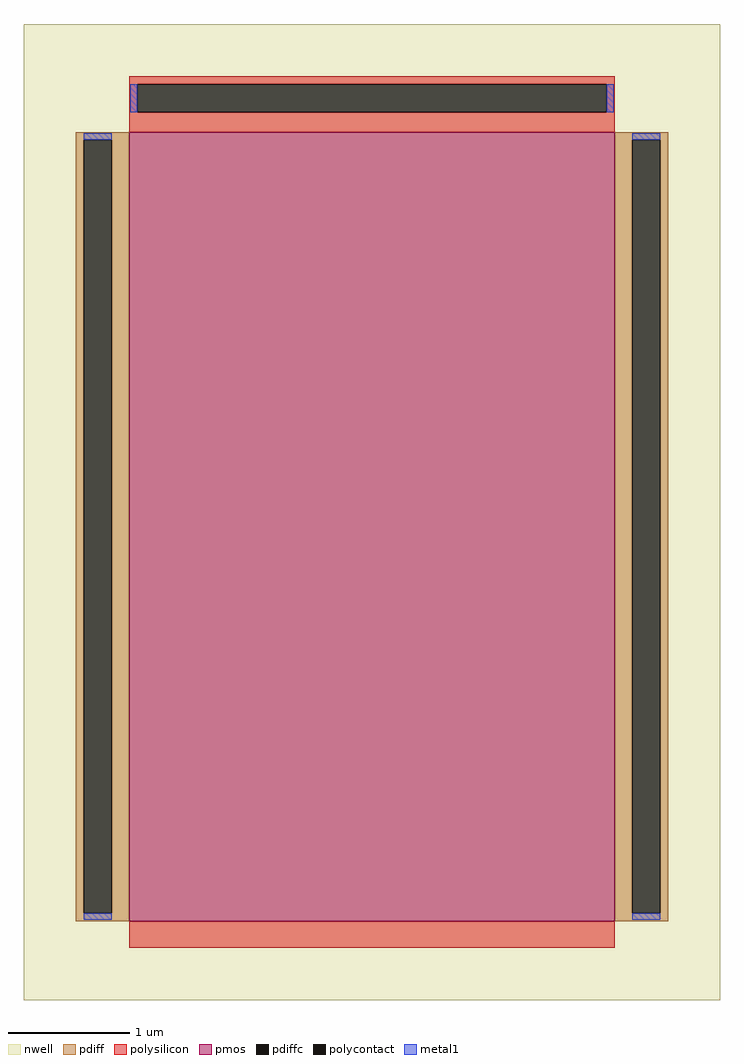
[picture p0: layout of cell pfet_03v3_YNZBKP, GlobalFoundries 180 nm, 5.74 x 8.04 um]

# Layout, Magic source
magic
tech gf180mcuD
magscale 1 10
<< nwell >>
rect -574 -804 574 804
<< pmos >>
rect -400 -674 400 626
<< pdiff >>
rect -488 613 -400 626
rect -488 -661 -475 613
rect -429 -661 -400 613
rect -488 -674 -400 -661
rect 400 613 488 626
rect 400 -661 429 613
rect 475 -661 488 613
rect 400 -674 488 -661
<< pdiffc >>
rect -475 -661 -429 613
rect 429 -661 475 613
<< polysilicon >>
rect -400 705 400 718
rect -400 659 -387 705
rect 387 659 400 705
rect -400 626 400 659
rect -400 -718 400 -674
<< polycontact >>
rect -387 659 387 705
<< metal1 >>
rect -398 659 -387 705
rect 387 659 398 705
rect -475 613 -429 624
rect -475 -672 -429 -661
rect 429 613 475 624
rect 429 -672 475 -661
<< properties >>
string gencell pfet_03v3
string library gf180mcu
string parameters w 6.5 l 4 m 1 nf 1 diffcov 100 polycov 100 guard 0 glc 0 grc 0 gtc 0 gbc 0 tbcov 100 rlcov 100 topc 1 botc 0 poverlap 0 doverlap 1 lmin 0.28 wmin 0.22 class mosfet full_metal 0 compatible {pfet_03v3 pfet_05v0 pfet_06v0}
<< end >>
